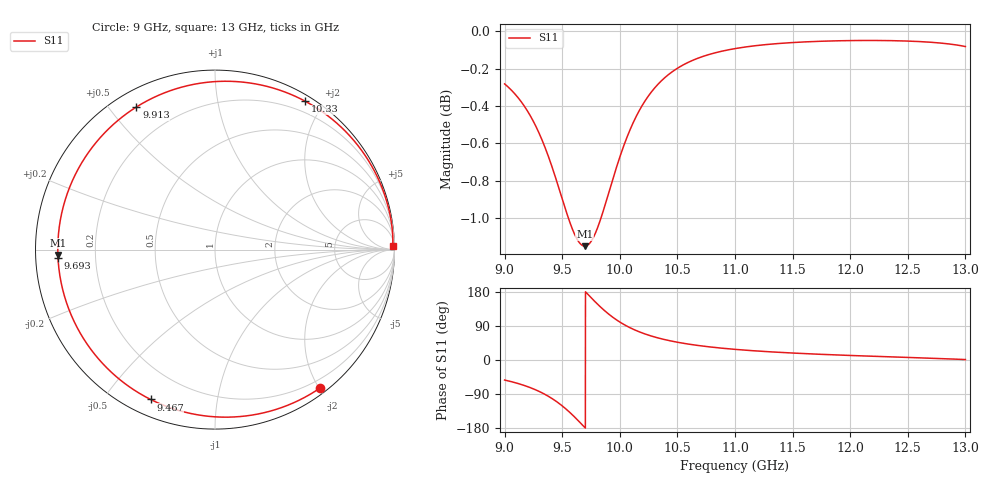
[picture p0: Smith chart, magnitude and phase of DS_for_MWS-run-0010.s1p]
! TOUCHSTONE file generated by CST DESIGN STUDIO
! Date and time: Tue Feb  4 17:06:57 2025
! Project name: C:\Work\MatlabApps\UnitCellOptimizationMatlab\CST\unitcell.cst
! Tree item: Tasks\Sweep1\SPara1\S-Parameters
! Header version: 2024
! Port assignment regex: !\s*Touchstone port\s*([0-9]+)\s*=\s*(CST MWS port|CST DES external port|CST DES block port)\s*(.+)\s* \(\"(.*)\"\)(\s*mode\s*([0-9]+))?.*
! Touchstone port assignment:
! Touchstone port 1 = CST DES external port 1 ("")
# GHz S MA R 50
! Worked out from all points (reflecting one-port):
!   4001 points, 9 GHz to 13 GHz, reference 50 ohm
!   lowest |S11| = -1.2 dB at 9.696 GHz (marker M1), VSWR 15.12, Z = 3.31 - j0.835 ohm
!   phase of S11 starts at -53 deg and turns -306 deg over the sweep
!   S11 on the Smith chart (normalised r, x): 9 GHz: 0.08, -2.01; 9.467 GHz: 0.07, -0.66; 9.693 GHz: 0.07, -0.03; 9.913 GHz: 0.07, +0.59; 10.33 GHz: 0.07, +1.78; 13 GHz: 39, +82
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9  0.9681 -52.9
9.125  0.9592 -62.8
9.244  0.9467 -75.5
9.369  0.9278 -93.8
9.42  0.9182 -103.3
9.467  0.9087 -113.3
9.5  0.9019 -121.0
9.554  0.8912 -135.0
9.609  0.8822 -150.8
9.652  0.8776 -164.1
9.693  0.8759 -177.1
9.696  0.8759 -178.1
9.741  0.8777 167.6
9.789  0.8831 152.6
9.852  0.8943 134.5
9.913  0.9072 118.8
10  0.9254 100.2
10.071  0.9382 87.9
10.156  0.9507 75.9
10.238  0.96 66.7
10.327  0.9676 58.6
10.5  0.9775 46.9
10.718  0.9846 36.8
11  0.9894 28.1
11.5  0.9931 18.4
12  0.9944 12.0
12.5  0.9941 6.8
13  0.9907 1.1
